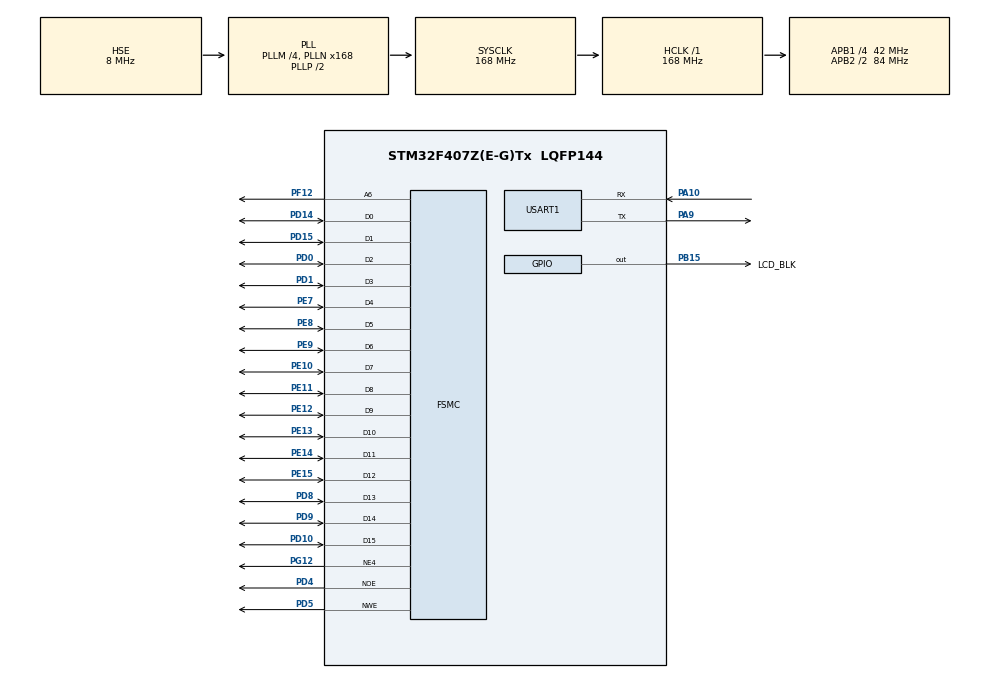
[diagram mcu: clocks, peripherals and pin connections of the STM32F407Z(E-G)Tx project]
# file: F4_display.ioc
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FSMC.AddressSetupTime1=0x0F
FSMC.BusTurnAroundDuration1=0
FSMC.DataSetupTime1=60
FSMC.ExtendedAddressSetupTime1=9
FSMC.ExtendedBusTurnAroundDuration1=0
FSMC.ExtendedDataSetupTime1=8
FSMC.ExtendedMode1=FSMC_EXTENDED_MODE_ENABLE
Mcu.Family=STM32F4
Mcu.Name=STM32F407Z(E-G)Tx
Mcu.Package=LQFP144
NVIC.PriorityGroup=NVIC_PRIORITYGROUP_4
NVIC.TIM7_IRQn=true\:1\:0\:true\:false\:true\:true\:true\:true
NVIC.USART1_IRQn=true\:0\:0\:true\:false\:true\:true\:true\:true
PA10.Mode=Asynchronous
PA10.Signal=USART1_RX
PA13.Mode=Serial_Wire
PA13.Signal=SYS_JTMS-SWDIO
PA14.Mode=Serial_Wire
PA14.Signal=SYS_JTCK-SWCLK
PA9.Mode=Asynchronous
PA9.Signal=USART1_TX
PB15.GPIO_Label=LCD_BLK
PB15.GPIO_Speed=GPIO_SPEED_FREQ_VERY_HIGH
PB15.Signal=GPIO_Output
PD0.Signal=FSMC_D2_DA2
PD1.Signal=FSMC_D3_DA3
PD10.Signal=FSMC_D15_DA15
PD14.Signal=FSMC_D0_DA0
PD15.Signal=FSMC_D1_DA1
PD4.Signal=FSMC_NOE
PD5.Signal=FSMC_NWE
PD8.Signal=FSMC_D13_DA13
PD9.Signal=FSMC_D14_DA14
PE10.Signal=FSMC_D7_DA7
PE11.Signal=FSMC_D8_DA8
PE12.Signal=FSMC_D9_DA9
PE13.Signal=FSMC_D10_DA10
PE14.Signal=FSMC_D11_DA11
PE15.Signal=FSMC_D12_DA12
PE7.Signal=FSMC_D4_DA4
PE8.Signal=FSMC_D5_DA5
PE9.Signal=FSMC_D6_DA6
PF12.Signal=FSMC_A6
PG12.Mode=NorPsramChipSelect4_1
PG12.Signal=FSMC_NE4
PH0-OSC_IN.Mode=HSE-External-Oscillator
PH0-OSC_IN.Signal=RCC_OSC_IN
PH1-OSC_OUT.Mode=HSE-External-Oscillator
PH1-OSC_OUT.Signal=RCC_OSC_OUT
ProjectManager.HeapSize=0x400
ProjectManager.StackSize=0x1000
ProjectManager.TargetToolchain=CMake
RCC.48MHZClocksFreq_Value=84000000
RCC.AHBFreq_Value=168000000
RCC.APB1CLKDivider=RCC_HCLK_DIV4
RCC.APB1Freq_Value=42000000
RCC.APB1TimFreq_Value=84000000
RCC.APB2CLKDivider=RCC_HCLK_DIV2
RCC.APB2Freq_Value=84000000
RCC.APB2TimFreq_Value=168000000
RCC.CortexFreq_Value=168000000
RCC.HCLKFreq_Value=168000000
RCC.HSE_VALUE=8000000
RCC.HSI_VALUE=16000000
RCC.LSE_VALUE=32768
RCC.PLLM=4
RCC.PLLN=168
RCC.PLLSourceVirtual=RCC_PLLSOURCE_HSE
RCC.SYSCLKFreq_VALUE=168000000
RCC.SYSCLKSource=RCC_SYSCLKSOURCE_PLLCLK
RCC.VCOOutputFreq_Value=336000000
SH.FSMC_A6.0=FSMC_A6,A6_1
SH.FSMC_D0_DA0.0=FSMC_D0,16b-d1
SH.FSMC_D10_DA10.0=FSMC_D10,16b-d1
SH.FSMC_D11_DA11.0=FSMC_D11,16b-d1
SH.FSMC_D12_DA12.0=FSMC_D12,16b-d1
SH.FSMC_D13_DA13.0=FSMC_D13,16b-d1
SH.FSMC_D14_DA14.0=FSMC_D14,16b-d1
SH.FSMC_D15_DA15.0=FSMC_D15,16b-d1
SH.FSMC_D1_DA1.0=FSMC_D1,16b-d1
SH.FSMC_D2_DA2.0=FSMC_D2,16b-d1
SH.FSMC_D3_DA3.0=FSMC_D3,16b-d1
SH.FSMC_D4_DA4.0=FSMC_D4,16b-d1
SH.FSMC_D5_DA5.0=FSMC_D5,16b-d1
SH.FSMC_D6_DA6.0=FSMC_D6,16b-d1
SH.FSMC_D7_DA7.0=FSMC_D7,16b-d1
SH.FSMC_D8_DA8.0=FSMC_D8,16b-d1
SH.FSMC_D9_DA9.0=FSMC_D9,16b-d1
SH.FSMC_NOE.0=FSMC_NOE,Lcd1
SH.FSMC_NWE.0=FSMC_NWE,Lcd1
TIM7.AutoReloadPreload=TIM_AUTORELOAD_PRELOAD_ENABLE
TIM7.Period=9
TIM7.Prescaler=8399
TIM7.TIM_MasterOutputTrigger=TIM_TRGO_UPDATE
USART1.VirtualMode=VM_ASYNC
VP_TIM7_VS_ClockSourceINT.Mode=Enable_Timer
board=custom

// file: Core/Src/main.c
/* USER CODE BEGIN Header */
/**
 ******************************************************************************
 * @file           : main.c
 * @brief          : Main program body
 ******************************************************************************
 * @attention
 *
 * Copyright (c) 2026 STMicroelectronics.
 * All rights reserved.
 *
 * This software is licensed under terms that can be found in the LICENSE file
 * in the root directory of this software component.
 * If no LICENSE file comes with this software, it is provided AS-IS.
 *
 ******************************************************************************
 */
/* USER CODE END Header */
#include "main.h"
#include "fsmc.h"
#include "gpio.h"
#include "tim.h"
#include "usart.h"

/* USER CODE BEGIN Includes */
#include "lcd.h"
#include "math.h"
#include "stdio.h"
#include "sys.h"
#include "touch.h"

#include "delay.h"
// #include "led.h"
// #include "key.h"
#include "lv_port_disp_template.h"
#include "lv_port_indev_template.h"
#include "lvgl.h"

/* USER CODE END Includes */

void SystemClock_Config(void);
/* USER CODE BEGIN PFP */
void Error_Handler(void);
extern void MX_FSMC_Init(void);
/* USER CODE END PFP */

int main(void) {

  /* MCU Configuration--------------------------------------------------------*/

  /* Reset of all peripherals, Initializes the Flash interface and the Systick.
   */
  HAL_Init();

  /* Configure the system clock */
  SystemClock_Config();

  /* Initialize all configured peripherals */
  MX_GPIO_Init();
  MX_FSMC_Init();
  MX_TIM7_Init();
  MX_USART1_UART_Init();
  /* USER CODE BEGIN 2 */
  /* 初始化按键 */

  lcd_init();    /* 初始化LCD */
  tp_dev.init(); /* 初始化触摸屏 */

  // 添加一个测试串口输出的语句
  printf("System initialized successfully!\r\n");

  // 检查校准参数是否有效
  if ((tp_dev.xfac != tp_dev.xfac || tp_dev.yfac != tp_dev.yfac) || // 检查NaN
      (tp_dev.xfac == 0 || tp_dev.yfac == 0) ||                     // 检查零值
      (tp_dev.xc < 0 || tp_dev.yc < 0)) { // 检查无效值
    printf("Error: Invalid calibration parameters! Please calibrate touch "
           "panel.\r\n");
  } else {
    printf("Touch panel calibration parameters are valid.\r\n");
  }

  HAL_TIM_Base_Start_IT(&htim7); /* 定时器初始化必须在LVGL初始化前完成 */
  lv_init();                     /* LVGL初始化 */
  lv_port_disp_init();           /* 显示端口初始化 */
  lv_port_indev_init();          /* 输入设备端口初始化 */

  // 创建LVGL界面元素
  lv_obj_t *switch_obj = lv_switch_create(lv_scr_act());
  lv_obj_set_size(switch_obj, 120, 60);
  lv_obj_align(switch_obj, LV_ALIGN_CENTER, 0, 0);

  // 创建一个标签用于显示触摸坐标
  lv_obj_t *label = lv_label_create(lv_scr_act());
  lv_label_set_text(label, "Touch screen to test");
  lv_obj_align(label, LV_ALIGN_BOTTOM_MID, 0, -10);

  printf("LVGL initialized and UI elements created.\r\n"); // 确认LVGL初始化

  uint16_t last_x = 0, last_y = 0;
  uint8_t last_state = 0;

  /* USER CODE END 2 */

  /* Infinite loop */
  /* USER CODE BEGIN WHILE */
  while (1) {
    // 测试触摸屏直接读取
    tp_dev.scan(0); // 扫描触摸屏

    if ((tp_dev.sta & TP_PRES_DOWN) && !(last_state & TP_PRES_DOWN)) {
      // 触摸按下
      printf("Touch pressed at: x=%d, y=%d (logical: %d, %d)\r\n", tp_dev.x[0],
             tp_dev.y[0], tp_dev.x[0], tp_dev.y[0]);
      last_x = tp_dev.x[0];
      last_y = tp_dev.y[0];
      last_state = tp_dev.sta;

      // 更新标签显示坐标
      char buf[60];
      sprintf(buf, "Pressed: (%d, %d)", tp_dev.x[0], tp_dev.y[0]);
      lv_label_set_text(label, buf);
    } else if (!(tp_dev.sta & TP_PRES_DOWN) && (last_state & TP_PRES_DOWN)) {
      // 触摸释放
      printf("Touch released at: x=%d, y=%d\r\n", tp_dev.x[0], tp_dev.y[0]);
      last_state = tp_dev.sta;
    }

    delay_ms(5);
    lv_timer_handler(); /* LVGL定时器处理 */
  }
  /* USER CODE END WHILE */

}

void SystemClock_Config(void) {
  RCC_OscInitTypeDef RCC_OscInitStruct = {0};
  RCC_ClkInitTypeDef RCC_ClkInitStruct = {0};

  /** Configure the main internal regulator output voltage
   */
  __HAL_RCC_PWR_CLK_ENABLE();
  __HAL_PWR_VOLTAGESCALING_CONFIG(PWR_REGULATOR_VOLTAGE_SCALE1);

  /** Initializes the RCC Oscillators according to the specified parameters
   * in the RCC_OscInitTypeDef structure.
   */
  RCC_OscInitStruct.OscillatorType = RCC_OSCILLATORTYPE_HSE;
  RCC_OscInitStruct.HSEState = RCC_HSE_ON;
  RCC_OscInitStruct.PLL.PLLState = RCC_PLL_ON;
  RCC_OscInitStruct.PLL.PLLSource = RCC_PLLSOURCE_HSE;
  RCC_OscInitStruct.PLL.PLLM = 4;
  RCC_OscInitStruct.PLL.PLLN = 168;
  RCC_OscInitStruct.PLL.PLLP = RCC_PLLP_DIV2;
  RCC_OscInitStruct.PLL.PLLQ = 4;
  if (HAL_RCC_OscConfig(&RCC_OscInitStruct) != HAL_OK) {
    Error_Handler();
  }

  /** Initializes the CPU, AHB and APB buses clocks
   */
  RCC_ClkInitStruct.ClockType = RCC_CLOCKTYPE_HCLK | RCC_CLOCKTYPE_SYSCLK |
                                RCC_CLOCKTYPE_PCLK1 | RCC_CLOCKTYPE_PCLK2;
  RCC_ClkInitStruct.SYSCLKSource = RCC_SYSCLKSOURCE_PLLCLK;
  RCC_ClkInitStruct.AHBCLKDivider = RCC_SYSCLK_DIV1;
  RCC_ClkInitStruct.APB1CLKDivider = RCC_HCLK_DIV4;
  RCC_ClkInitStruct.APB2CLKDivider = RCC_HCLK_DIV2;

  if (HAL_RCC_ClockConfig(&RCC_ClkInitStruct, FLASH_LATENCY_5) != HAL_OK) {
    Error_Handler();
  }
}

void Error_Handler(void) {
  __disable_irq();
  while (1) {
  }
}
#ifdef USE_FULL_ASSERT
/**
 * @brief  Reports the name of the source file and the source line number
 *         where the assert_param error has occurred.
 * @param  file: pointer to the source file name
 * @param  line: assert_param error line source number
 * @retval None
 */
void assert_failed(uint8_t *file, uint32_t line) {
  /* USER CODE BEGIN 6 */
  /* User can add his own implementation to report the file name and line
     number, ex: printf("Wrong parameters value: file %s on line %d\r\n", file,
     line) */
  /* USER CODE END 6 */
}
#endif /* USE_FULL_ASSERT */
